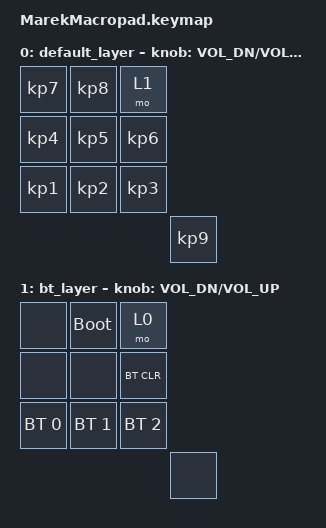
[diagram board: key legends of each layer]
#include <behaviors.dtsi>
#include <dt-bindings/zmk/keys.h>
#include <dt-bindings/zmk/bt.h>
#include <dt-bindings/zmk/ext_power.h>

/ {
    keymap {
        compatible = "zmk,keymap";

        default_layer {
            bindings = <
                &kp KP_N7       &kp KP_N8       &mo 1
                &kp KP_N4       &kp KP_N5       &kp KP_N6
                &kp KP_N1       &kp KP_N2       &kp KP_N3
                                                                &kp KP_N9
            >;

            sensor-bindings = <&inc_dec_kp C_VOL_DN C_VOL_UP>;
        };

        bt_layer {
            bindings =<
                &none           &bootloader     &mo 0
                &none           &none           &bt BT_CLR
                &bt BT_SEL 0    &bt BT_SEL 1    &bt BT_SEL 2
                                                                &none
            >;

            sensor-bindings = <&inc_dec_kp C_VOL_DN C_VOL_UP>;
        };
    };    
};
